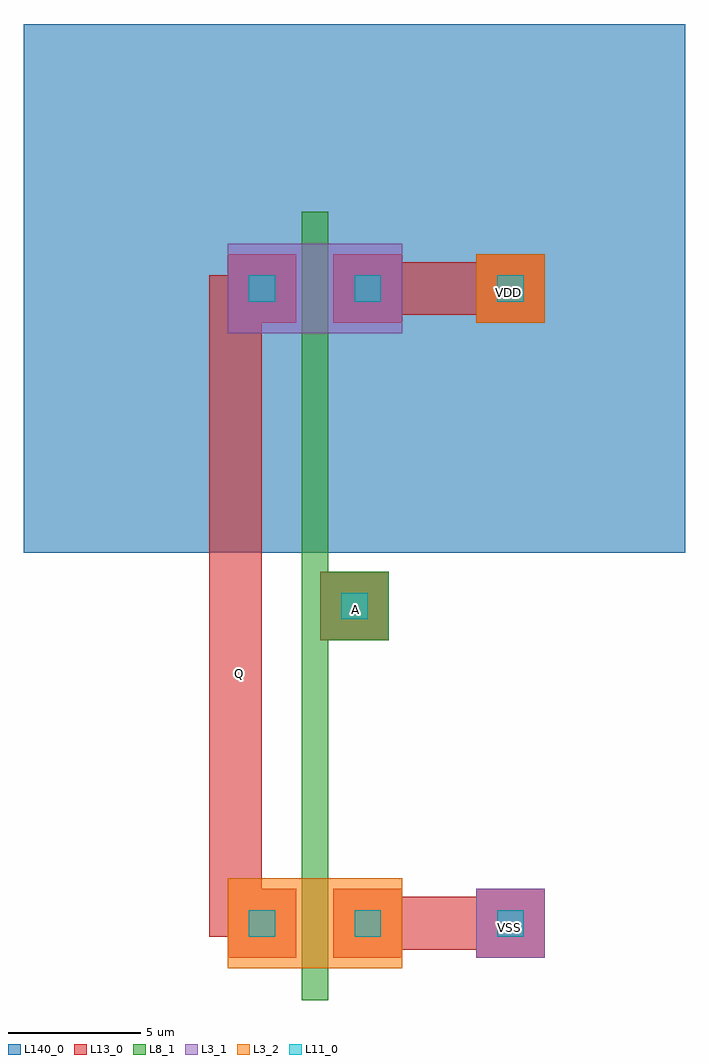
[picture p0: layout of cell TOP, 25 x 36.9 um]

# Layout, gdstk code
from math import pi, radians
import gdstk
lib = gdstk.Library(unit=1e-6, precision=5e-09)
def R(c, l, rs):  # rectangles x0, y0, x1, y1
    for r in rs: c.add(gdstk.rectangle(r[:2], r[2:], *l))
L3_1 = (3, 1)
L3_2 = (3, 2)
L8_1 = (8, 1)
L11_0 = (11, 0)
L13_0 = (13, 0)
L140_0 = (140, 0)

fet_p = lib.new_cell('fet_p')
R(fet_p, L3_1, [(-3.3,-1.7,3.3,1.7)])
R(fet_p, L11_0, [(-2.5,-0.5,-1.5,0.5), (1.5,-0.5,2.5,0.5)])
R(fet_p, L13_0, [(-3.3,-1.3,-0.7,1.3), (0.7,-1.3,3.3,1.3)])
fet_p.add(gdstk.FlexPath([(0,-2.9),(0,2.9)], 1, ends="flush", simple_path=True, layer=8, datatype=1))  # L8_1

fet_n = lib.new_cell('fet_n')
R(fet_n, L3_2, [(-3.3,-1.7,3.3,1.7)])
R(fet_n, L11_0, [(-2.5,-0.5,-1.5,0.5), (1.5,-0.5,2.5,0.5)])
R(fet_n, L13_0, [(-3.3,-1.3,-0.7,1.3), (0.7,-1.3,3.3,1.3)])
fet_n.add(gdstk.FlexPath([(0,-2.9),(0,2.9)], 1, ends="flush", simple_path=True, layer=8, datatype=1))  # L8_1

cont_g = lib.new_cell('cont_g')
R(cont_g, L8_1, [(-1.3,-1.3,1.3,1.3)])
R(cont_g, L11_0, [(-0.5,-0.5,0.5,0.5)])
R(cont_g, L13_0, [(-1.3,-1.3,1.3,1.3)])

cont_p = lib.new_cell('cont_p')
R(cont_p, L3_1, [(-1.3,-1.3,1.3,1.3)])
R(cont_p, L11_0, [(-0.5,-0.5,0.5,0.5)])
R(cont_p, L13_0, [(-1.3,-1.3,1.3,1.3)])

cont_n = lib.new_cell('cont_n')
R(cont_n, L3_2, [(-1.3,-1.3,1.3,1.3)])
R(cont_n, L11_0, [(-0.5,-0.5,0.5,0.5)])
R(cont_n, L13_0, [(-1.3,-1.3,1.3,1.3)])

top = lib.new_cell('TOP')
R(top, L13_0, [(1.5,-13,7.9,-11), (-4,-12.5,-2,12.5), (1.5,11,7.9,13)])
R(top, L140_0, [(-11,2,14,22)])
top.add(gdstk.FlexPath([(0,-9.1),(0,9.1)], 1, ends="flush", simple_path=True, layer=8, datatype=1))  # L8_1
top.add(gdstk.FlexPath([(0.5,0),(2,0)], 1, ends="flush", simple_path=True, layer=8, datatype=1))  # L8_1
top.add(gdstk.Reference(fet_p, (0,12)))
top.add(gdstk.Reference(fet_n, (0,-12)))
top.add(gdstk.Reference(cont_g, (1.5,0), rotation=pi/2))
top.add(gdstk.Reference(cont_p, (7.4,-12)))
top.add(gdstk.Reference(cont_n, (7.4,12)))
top.add(gdstk.Label('VSS', (7.37,-12.15), layer=48, texttype=0))
top.add(gdstk.Label('VDD', (7.34,11.83), layer=48, texttype=0))
top.add(gdstk.Label('A', (1.525,-0.13), layer=48, texttype=0))
top.add(gdstk.Label('Q', (-2.84,-2.57), layer=48, texttype=0))

lib.write_gds('TOP.gds')
